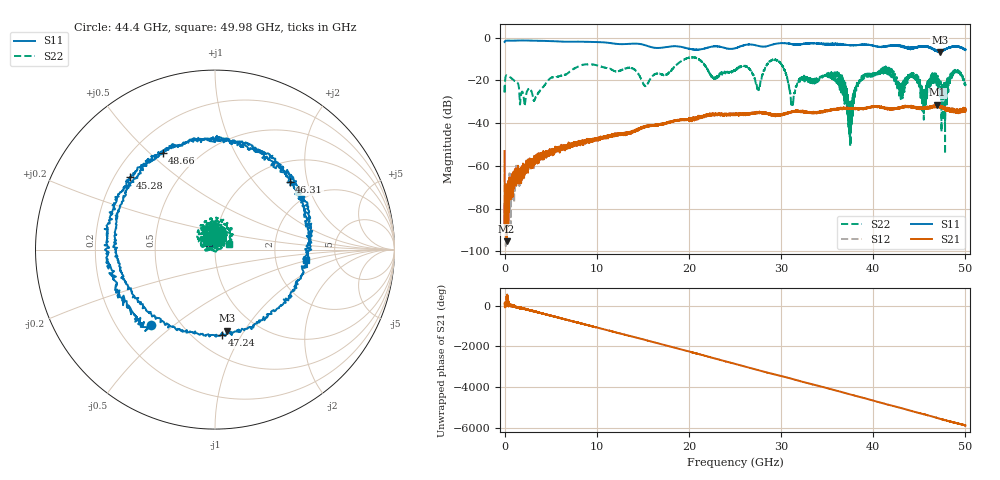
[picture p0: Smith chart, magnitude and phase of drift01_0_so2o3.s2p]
!Created with skrf (http://scikit-rf.org).
# Hz S RI R 50.0
!freq ReS11 ImS11 ReS21 ImS21 ReS12 ImS12 ReS22 ImS22
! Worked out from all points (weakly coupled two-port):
!   10001 points, 300 kHz to 50 GHz, reference 50 ohm
!   highest |S21| = -31.45 dB at 46.94 GHz (marker M1); lowest = -95.2 dB at 215.3 MHz (marker M2)
!   lowest |S11| = -6.8 dB at 47.21 GHz (marker M3), VSWR 2.68, Z = 36.9 - j42.1 ohm
!   |S11| at or under -10 dB: nowhere
!   |S22| runs from -54.4 to -9.2 dB; largest |S21 - S12| = 0.0046
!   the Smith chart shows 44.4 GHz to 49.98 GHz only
!   S11 on the Smith chart (normalised r, x): 44.4 GHz: 0.34, -0.42; 45.28 GHz: 0.26, +0.34; 46.31 GHz: 1.42, +1.56; 47.24 GHz: 0.67, -0.83; 48.66 GHz: 0.32, +0.55; 49.98 GHz: 2.99, -0.48
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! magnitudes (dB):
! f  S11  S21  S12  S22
! 300 kHz  -2.1  -53.1  -59.3  -22.4
! 215.3 MHz  -1.4  -95.2  -81.1  -17.7
! 3.285 GHz  -1.5  -57.5  -57.4  -28.9
! 8.335 GHz  -2.0  -49.2  -48.8  -12.9
! 16.67 GHz  -4.9  -40.9  -40.7  -16.7
! 25 GHz  -5.0  -35.7  -35.9  -15.5
! 29.6 GHz  -2.8  -36.3  -36.4  -10.7
! 31.23 GHz  -3.1  -34.7  -34.8  -30.8
! 33.34 GHz  -2.6  -35.2  -34.9  -20.3
! 36.08 GHz  -3.0  -33.2  -33.4  -18.1
! 37.48 GHz  -3.6  -33.3  -33.1  -34.1
! 38.68 GHz  -3.4  -33.3  -33.4  -19.8
! 41.67 GHz  -3.9  -33.1  -33.5  -15.5
! 44.4 GHz  -5.1  -32.5  -32.7  -17.7
! 45.28 GHz  -4.1  -32.8  -33.0  -25.5
! 46.31 GHz  -5.0  -32.5  -32.7  -19.6
! 46.94 GHz  -6.4  -31.5  -32.0  -18.9
! 47.21 GHz  -6.8  -31.9  -32.1  -26.0
! 47.24 GHz  -6.4  -32.8  -32.2  -27.7
! 48.66 GHz  -4.3  -34.5  -34.1  -17.2
! 49.98 GHz  -5.9  -33.6  -33.6  -21.6
! 50 GHz  -5.6  -34.3  -33.8  -21.8
